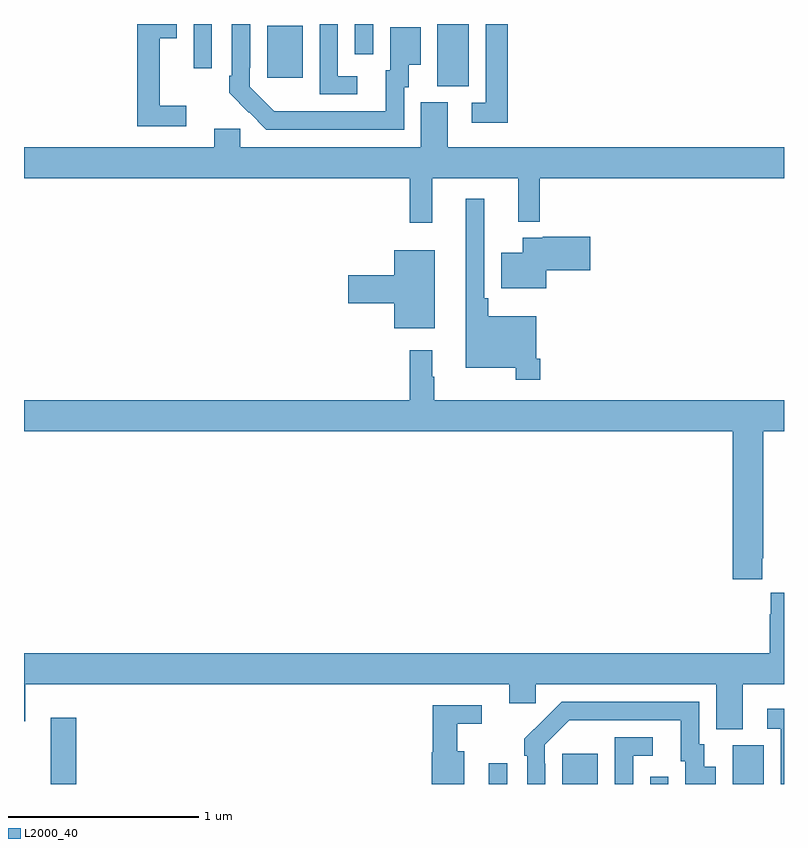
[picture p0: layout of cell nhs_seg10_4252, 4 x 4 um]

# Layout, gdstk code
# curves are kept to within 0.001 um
import gdstk
lib = gdstk.Library(unit=1e-6, precision=1e-09)
def R(c, l, rs):  # rectangles x0, y0, x1, y1
    for r in rs: c.add(gdstk.rectangle(r[:2], r[2:], *l))
def P(c, l, *ps):  # polygons
    for p in ps: c.add(gdstk.Polygon(p, *l))
L2000_40 = (2000, 40)

nhs_seg10_4252 = lib.new_cell('nhs_seg10_4252')
R(nhs_seg10_4252, L2000_40, [(349.142,1258.5,349.274,1258.849), (351.447,1258.5,351.543,1258.609), (351.833,1258.5,352.021,1258.66), (352.296,1258.5,352.392,1258.537), (352.73,1258.5,352.894,1258.704), (351.176,1262.173,351.34,1262.5), (350.279,1262.217,350.467,1262.491), (349.893,1262.268,349.989,1262.5), (350.742,1262.34,350.838,1262.5)])
P(nhs_seg10_4252, L2000_40, [(351,1262.166),(351.025,1262.166),(351.025,1262.285),(351.088,1262.285),(351.088,1262.482),(350.927,1262.482),(350.927,1262.256),(350.903,1262.256),(350.903,1262.04),(350.316,1262.041),(350.187,1262.169),(350.187,1262.269),(350.19,1262.269),(350.19,1262.5),(350.094,1262.5),(350.094,1262.227),(350.079,1262.227),(350.079,1262.139),(350.276,1261.944),(351,1261.944)],
  [(349.855,1262.071),(349.715,1262.071),(349.715,1262.426),(349.804,1262.426),(349.804,1262.5),(349.597,1262.5),(349.597,1261.962),(349.855,1261.962)],
  [(351.545,1262.5),(351.429,1262.5),(351.429,1262.085),(351.357,1262.085),(351.357,1261.98),(351.545,1261.98)],
  [(350.755,1262.226),(350.652,1262.226),(350.652,1262.5),(350.556,1262.5),(350.556,1262.13),(350.755,1262.13)],
  [(351.149,1261.688),(351.602,1261.688),(351.602,1261.46),(351.715,1261.46),(351.715,1261.688),(353,1261.688),(353,1261.852),(351.229,1261.852),(351.229,1262.088),(351.089,1262.088),(351.089,1261.852),(350.139,1261.852),(350.139,1261.95),(350,1261.95),(350,1261.852),(349,1261.852),(349,1261.688),(351.031,1261.688),(351.031,1261.455),(351.149,1261.455)],
  [(351.716,1260.739),(351.696,1260.739),(351.696,1260.961),(351.443,1260.961),(351.443,1261.057),(351.423,1261.057),(351.423,1261.579),(351.326,1261.579),(351.326,1260.692),(351.588,1260.692),(351.588,1260.627),(351.716,1260.627)],
  [(351.748,1261.205),(351.979,1261.205),(351.979,1261.38),(351.73,1261.38),(351.73,1261.375),(351.626,1261.375),(351.626,1261.297),(351.512,1261.297),(351.512,1261.109),(351.748,1261.109)],
  [(351.163,1261.309),(350.948,1261.309),(350.948,1261.178),(350.706,1261.178),(350.706,1261.031),(350.948,1261.031),(350.948,1260.899),(351.163,1260.899)],
  [(352.885,1259.689),(352.89,1259.689),(352.89,1260.356),(353,1260.356),(353,1260.52),(351.16,1260.52),(351.16,1260.644),(351.148,1260.644),(351.148,1260.784),(351.031,1260.784),(351.031,1260.52),(349,1260.52),(349,1260.356),(352.73,1260.356),(352.73,1259.577),(352.885,1259.577)],
  [(352.783,1259.024),(353,1259.024),(353,1259.506),(352.931,1259.506),(352.931,1259.393),(352.925,1259.393),(352.925,1259.188),(349,1259.188),(349,1258.83),(349.006,1258.83),(349.006,1259.024),(351.554,1259.024),(351.554,1258.926),(351.693,1258.926),(351.693,1259.024),(352.643,1259.024),(352.643,1258.789),(352.783,1258.789)],
  [(351.744,1258.607),(351.741,1258.607),(351.741,1258.707),(351.87,1258.836),(352.457,1258.836),(352.457,1258.62),(352.481,1258.62),(352.481,1258.5),(352.642,1258.5),(352.642,1258.591),(352.579,1258.591),(352.579,1258.71),(352.554,1258.71),(352.554,1258.932),(351.83,1258.932),(351.633,1258.737),(351.633,1258.649),(351.648,1258.649),(351.648,1258.5),(351.744,1258.5)],
  [(351.316,1258.672),(351.28,1258.672),(351.28,1258.817),(351.409,1258.817),(351.409,1258.914),(351.151,1258.914),(351.151,1258.668),(351.146,1258.668),(351.146,1258.5),(351.316,1258.5)],
  [(353,1258.897),(352.911,1258.897),(352.911,1258.791),(352.983,1258.791),(352.983,1258.5),(353,1258.5)],
  [(352.206,1258.65),(352.309,1258.65),(352.309,1258.746),(352.11,1258.746),(352.11,1258.5),(352.206,1258.5)])

lib.write_gds('nhs_seg10_4252.gds')
